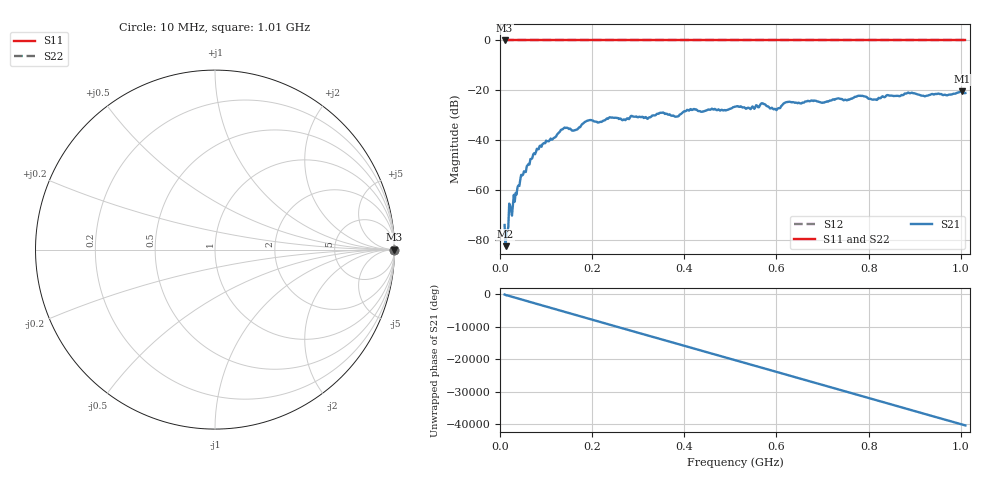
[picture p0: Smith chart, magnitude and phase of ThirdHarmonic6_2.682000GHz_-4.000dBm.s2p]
! 8/17/2025 6:18:27 AM
! C:\ANRITSUVNA\TEMP\TEMP.S2P
! CHANNEL.1
! TR.MEASUREMENT
! RAW.DATA
! RF.CORRECTION.OFF
! AVERAGING.OFF
! IF.BANDWIDTH: 5KHZ
! SWEEPTYPE:  FREQ.SWEEP(Linear)
! Reference Plane Port Info
! PORT:  PORT1  PORT2
! DISTANCE:  0  m  0  m
! TIME:  0  s  0  s
! PHASE.OFFSET:  0  deg.  0  deg.
! LOSS:  0  dB  0  dB
! REF.LOSS:  0  dB  0  dB
! REF.FREQ:  0  Hz  0  Hz
! Power Info
! POWER:  -20  dBm  -20  dBm
! EFF.POWER:  -20  dBm  -20  dBm
! SOURCE.ATTEN:  0  dB  0  dB
! TEST.ATTEN:  0  dB  0  dB
# GHZ S RI R 50.0
! FREQ.GHZ  S11RE  S11IM  S21RE  S21IM  S12RE  S12IM  S22RE  S22IM
!; PortSelection: Port_12
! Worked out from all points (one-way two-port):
!   501 points, 10 MHz to 1.01 GHz, reference 50 ohm
!   highest |S21| = -20.46 dB at 1.002 GHz (marker M1); lowest = -82.5 dB at 12 MHz (marker M2)
!   lowest |S11| = 0.0 dB at 10 MHz (marker M3)
!   |S11| at or under -10 dB: nowhere
!   |S22| runs from 0.0 to 0.0 dB; largest |S21 - S12| = 1.1
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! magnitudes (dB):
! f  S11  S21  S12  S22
! 10 MHz  0.0  -74.0  0.0  0.0
! 12 MHz  0.0  -82.5  0.0  0.0
! 14 MHz  0.0  -77.2  0.0  0.0
! 24 MHz  0.0  -68.0  0.0  0.0
! 48 MHz  0.0  -54.2  0.0  0.0
! 76 MHz  0.0  -45.6  0.0  0.0
! 136 MHz  0.0  -35.7  0.0  0.0
! 162 MHz  0.0  -36.0  0.0  0.0
! 178 MHz  0.0  -33.6  0.0  0.0
! 194 MHz  0.0  -32.0  0.0  0.0
! 322 MHz  0.0  -31.1  0.0  0.0
! 344 MHz  0.0  -29.4  0.0  0.0
! 384 MHz  0.0  -30.5  0.0  0.0
! 410 MHz  0.0  -28.2  0.0  0.0
! 510 MHz  0.0  -26.6  0.0  0.0
! 570 MHz  0.0  -25.2  0.0  0.0
! 598 MHz  0.0  -27.5  0.0  0.0
! 624 MHz  0.0  -24.7  0.0  0.0
! 678 MHz  0.0  -24.1  0.0  0.0
! 844 MHz  0.0  -22.1  0.0  0.0
! 1.002 GHz  0.0  -20.5  0.0  0.0
! 1.01 GHz  0.0  -21.1  0.0  0.0
